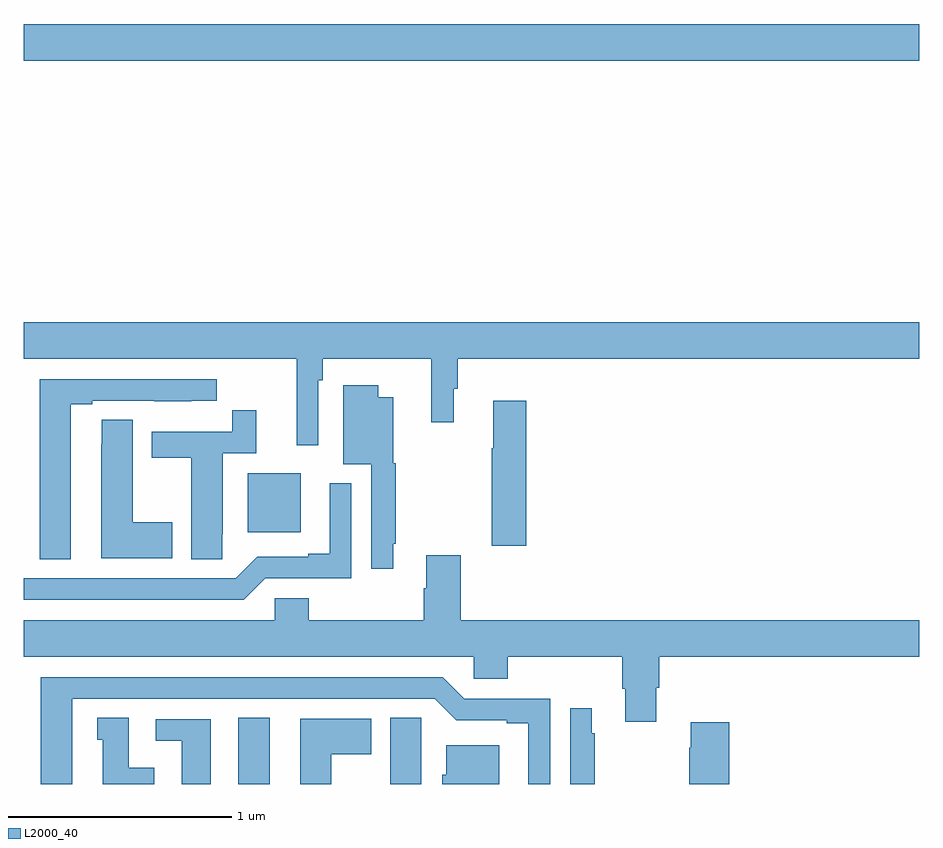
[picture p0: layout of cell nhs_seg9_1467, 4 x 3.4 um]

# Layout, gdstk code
import gdstk
lib = gdstk.Library(unit=1e-6, precision=1e-09)
def R(c, l, rs):  # rectangles x0, y0, x1, y1
    for r in rs: c.add(gdstk.rectangle(r[:2], r[2:], *l))
def P(c, l, *ps):  # polygons
    for p in ps: c.add(gdstk.Polygon(p, *l))
L2000_40 = (2000, 40)

nhs_seg9_1467 = lib.new_cell('nhs_seg9_1467')
R(nhs_seg9_1467, L2000_40, [(193.958,1214.5,194.098,1214.795), (194,1215.626,194.236,1215.889), (193,1217.732,197,1217.896)])
P(nhs_seg9_1467, L2000_40, [(194.316,1216.304),(194.336,1216.304),(194.336,1216.4),(194.821,1216.4),(194.821,1216.116),(194.92,1216.116),(194.92,1216.266),(194.939,1216.266),(194.939,1216.4),(197,1216.4),(197,1216.564),(193,1216.564),(193,1216.4),(194.219,1216.4),(194.219,1216.014),(194.316,1216.014)],
  [(193.21,1216.197),(193.306,1216.197),(193.306,1216.212),(193.582,1216.212),(193.582,1216.211),(193.748,1216.211),(193.748,1216.212),(193.861,1216.212),(193.861,1216.308),(193.07,1216.308),(193.07,1215.505),(193.21,1215.505)],
  [(194.65,1215.574),(194.662,1215.574),(194.662,1215.933),(194.65,1215.933),(194.65,1216.228),(194.584,1216.228),(194.584,1216.282),(194.426,1216.282),(194.426,1215.929),(194.553,1215.929),(194.553,1215.462),(194.65,1215.462)],
  [(195.245,1216.213),(195.098,1216.213),(195.098,1216),(195.091,1216),(195.091,1215.564),(195.245,1215.564)],
  [(193.887,1215.616),(193.888,1215.616),(193.888,1215.978),(194.039,1215.978),(194.039,1216.171),(193.93,1216.171),(193.93,1216.074),(193.571,1216.074),(193.571,1215.958),(193.748,1215.958),(193.748,1215.505),(193.887,1215.505)],
  [(193.663,1215.669),(193.486,1215.669),(193.486,1216.127),(193.347,1216.127),(193.347,1216.019),(193.346,1216.019),(193.346,1215.509),(193.663,1215.509)],
  [(194.079,1215.42),(194.463,1215.42),(194.463,1215.844),(194.366,1215.844),(194.366,1215.529),(194.27,1215.529),(194.27,1215.516),(194.043,1215.516),(193.947,1215.42),(193,1215.42),(193,1215.324),(193.983,1215.324)],
  [(195.826,1214.931),(195.839,1214.931),(195.839,1215.068),(197,1215.068),(197,1215.232),(194.951,1215.232),(194.951,1215.523),(194.798,1215.523),(194.798,1215.374),(194.786,1215.374),(194.786,1215.232),(194.273,1215.232),(194.273,1215.33),(194.121,1215.33),(194.121,1215.232),(193,1215.232),(193,1215.068),(195.009,1215.068),(195.009,1214.97),(195.161,1214.97),(195.161,1215.068),(195.674,1215.068),(195.674,1214.926),(195.686,1214.926),(195.686,1214.778),(195.826,1214.778)],
  [(193.216,1214.88),(194.835,1214.88),(194.931,1214.784),(195.158,1214.784),(195.158,1214.772),(195.254,1214.772),(195.254,1214.5),(195.351,1214.5),(195.351,1214.88),(194.967,1214.88),(194.871,1214.976),(193.076,1214.976),(193.076,1214.5),(193.216,1214.5)],
  [(195.55,1214.726),(195.538,1214.726),(195.538,1214.839),(195.441,1214.839),(195.441,1214.5),(195.55,1214.5)],
  [(193.582,1214.572),(193.468,1214.572),(193.468,1214.795),(193.328,1214.795),(193.328,1214.697),(193.352,1214.697),(193.352,1214.5),(193.582,1214.5)],
  [(194.776,1214.684),(194.775,1214.684),(194.775,1214.795),(194.636,1214.795),(194.636,1214.5),(194.776,1214.5)],
  [(194.374,1214.632),(194.551,1214.632),(194.551,1214.791),(194.234,1214.791),(194.234,1214.5),(194.374,1214.5)],
  [(193.834,1214.79),(193.59,1214.79),(193.59,1214.694),(193.706,1214.694),(193.706,1214.5),(193.834,1214.5)],
  [(196.151,1214.776),(195.98,1214.776),(195.98,1214.663),(195.973,1214.663),(195.973,1214.5),(196.151,1214.5)],
  [(195.124,1214.674),(194.888,1214.674),(194.888,1214.541),(194.87,1214.541),(194.87,1214.5),(195.124,1214.5)])

lib.write_gds('nhs_seg9_1467.gds')
